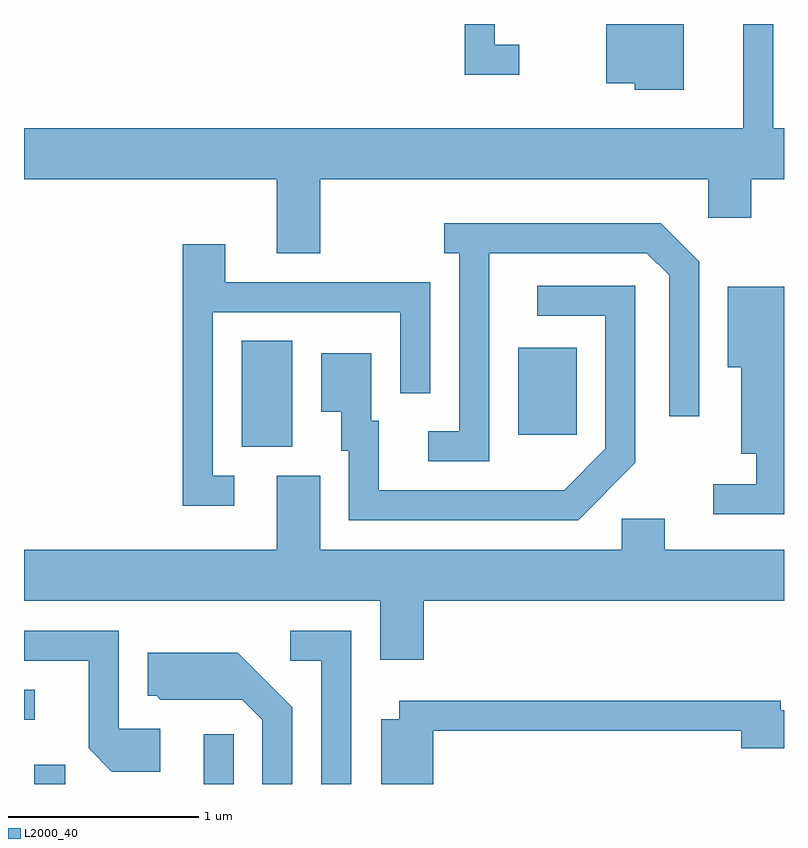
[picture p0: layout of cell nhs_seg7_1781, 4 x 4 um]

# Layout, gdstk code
import gdstk
lib = gdstk.Library(unit=1e-6, precision=1e-09)
def R(c, l, rs):  # rectangles x0, y0, x1, y1
    for r in rs: c.add(gdstk.rectangle(r[:2], r[2:], *l))
def P(c, l, *ps):  # polygons
    for p in ps: c.add(gdstk.Polygon(p, *l))
L2000_40 = (2000, 40)

nhs_seg7_1781 = lib.new_cell('nhs_seg7_1781')
R(nhs_seg7_1781, L2000_40, [(239.666,1702.252,239.829,1702.353), (240.556,1702.252,240.714,1702.513), (239.611,1702.591,239.668,1702.749), (240.756,1704.026,241.024,1704.584), (242.211,1704.091,242.519,1704.549)])
P(nhs_seg7_1781, L2000_40, [(241.169,1705.436),(243.211,1705.436),(243.211,1705.231),(243.439,1705.231),(243.439,1705.436),(243.611,1705.436),(243.611,1705.704),(243.554,1705.704),(243.554,1706.252),(243.396,1706.252),(243.396,1705.704),(239.611,1705.704),(239.611,1705.436),(240.941,1705.436),(240.941,1705.046),(241.169,1705.046)],
  [(242.218,1706.144),(242.089,1706.144),(242.089,1706.252),(241.931,1706.252),(241.931,1705.986),(242.218,1705.986)],
  [(243.084,1706.252),(242.676,1706.252),(242.676,1705.941),(242.826,1705.941),(242.826,1705.906),(243.084,1705.906)],
  [(242.059,1705.046),(242.889,1705.046),(243.006,1704.929),(243.006,1704.188),(243.164,1704.188),(243.164,1705.002),(242.962,1705.204),(241.823,1705.204),(241.823,1705.046),(241.901,1705.046),(241.901,1704.109),(241.738,1704.109),(241.738,1703.951),(242.059,1703.951)],
  [(240.718,1703.874),(240.604,1703.874),(240.604,1704.736),(241.591,1704.736),(241.591,1704.308),(241.749,1704.308),(241.749,1704.894),(240.669,1704.894),(240.669,1705.094),(240.446,1705.094),(240.446,1703.716),(240.718,1703.716)],
  [(242.829,1703.944),(242.829,1704.874),(242.313,1704.874),(242.313,1704.716),(242.671,1704.716),(242.671,1704.017),(242.454,1703.799),(241.479,1703.799),(241.479,1704.164),(241.439,1704.164),(241.439,1704.519),(241.176,1704.519),(241.176,1704.211),(241.281,1704.211),(241.281,1704.006),(241.321,1704.006),(241.321,1703.641),(242.527,1703.641)],
  [(243.611,1704.869),(243.316,1704.869),(243.316,1704.446),(243.386,1704.446),(243.386,1703.991),(243.466,1703.991),(243.466,1703.829),(243.238,1703.829),(243.238,1703.671),(243.611,1703.671)],
  [(241.714,1703.216),(243.611,1703.216),(243.611,1703.484),(242.984,1703.484),(242.984,1703.649),(242.756,1703.649),(242.756,1703.484),(241.169,1703.484),(241.169,1703.874),(240.941,1703.874),(240.941,1703.484),(239.611,1703.484),(239.611,1703.216),(241.486,1703.216),(241.486,1702.906),(241.714,1702.906)],
  [(240.329,1702.544),(240.109,1702.544),(240.109,1703.059),(239.611,1703.059),(239.611,1702.901),(239.951,1702.901),(239.951,1702.439),(240.074,1702.316),(240.329,1702.316)],
  [(241.334,1703.059),(241.013,1703.059),(241.013,1702.901),(241.176,1702.901),(241.176,1702.252),(241.334,1702.252)],
  [(241.024,1702.657),(240.737,1702.944),(240.261,1702.944),(240.261,1702.716),(240.309,1702.716),(240.329,1702.696),(240.759,1702.696),(240.866,1702.589),(240.866,1702.252),(241.024,1702.252)],
  [(241.764,1702.531),(243.386,1702.531),(243.386,1702.441),(243.611,1702.441),(243.611,1702.639),(243.594,1702.639),(243.594,1702.689),(241.586,1702.689),(241.586,1702.594),(241.491,1702.594),(241.491,1702.252),(241.764,1702.252)])

lib.write_gds('nhs_seg7_1781.gds')
